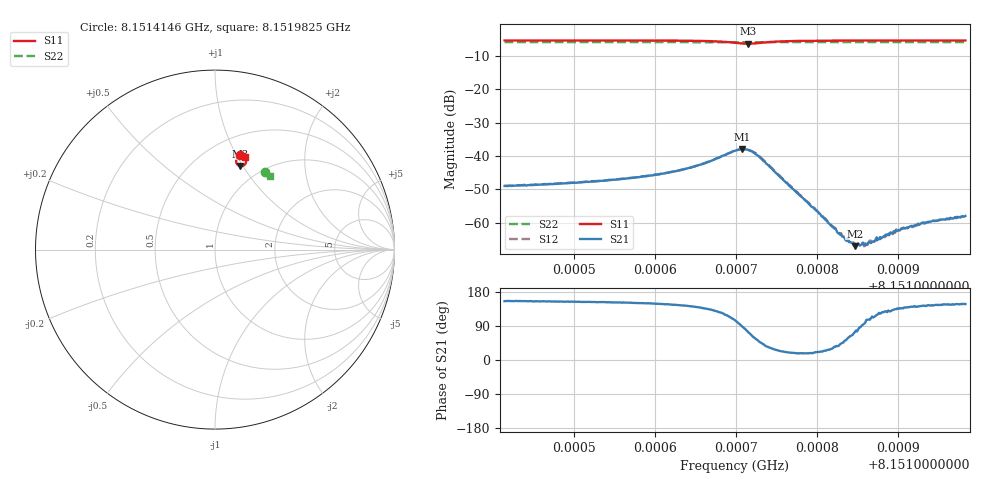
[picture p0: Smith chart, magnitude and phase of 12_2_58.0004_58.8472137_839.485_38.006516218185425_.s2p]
#  HZ  S  RI  R  50.00
! Rohde & Schwarz Vector Network Analyzer
! Rohde-Schwarz,ZNB20-2Port,1311601062101988,3.16
! Created: UTC 3/21/2024, 12:50:49 AM
! freq[Hz]  re:S11  im:S11  re:S21  im:S21  re:S12  im:S12  re:S22  im:S22
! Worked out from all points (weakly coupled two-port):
!   401 points, 8.1514146 GHz to 8.1519825 GHz, reference 50 ohm
!   highest |S21| = -37.85 dB at 8.1517071 GHz (marker M1); lowest = -67.1 dB at 8.1518462 GHz (marker M2)
!   lowest |S11| = -6.3 dB at 8.1517142 GHz (marker M3), VSWR 2.89, Z = 39.8 + j48.5 ohm
!   |S11| at or under -10 dB: nowhere
!   |S22| runs from -5.8 to -5.8 dB; largest |S21 - S12| = 0.0004
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8.15141462e9  0.1375 0.5263  -0.00322 0.00148  -0.00322 0.00151  0.2781 0.4324
8.15150973e9  0.1462 0.5239  -0.00362 0.00181  -0.00361 0.00186  0.2832 0.4289
8.15156652e9  0.1526 0.5213  -0.00404 0.00223  -0.00404 0.00229  0.2863 0.4268
8.15160485e9  0.158 0.5185  -0.00451 0.00282  -0.00447 0.00287  0.2883 0.4253
8.15163182e9  0.1628 0.5149  -0.005 0.0036  -0.00496 0.00364  0.2899 0.4241
8.15165595e9  0.1683 0.5087  -0.00553 0.00494  -0.00548 0.00503  0.2911 0.423
8.15169854e9  0.1659 0.4739  -0.00309 0.0116  -0.00303 0.0116  0.2926 0.4202
8.15170706e9  0.1526 0.4659  0.000144 0.0128  7.77e-05 0.0128  0.2924 0.4198
8.15171415e9  0.138 0.466  0.00331 0.012  0.00317 0.0122  0.2923 0.4198
8.15172125e9  0.1255 0.4734  0.00561 0.00976  0.00544 0.0101  0.2922 0.4198
8.15172977e9  0.1184 0.4867  0.00642 0.00678  0.00659 0.00704  0.2926 0.4203
8.15179365e9  0.1395 0.5199  0.00164 0.000523  0.00169 0.000547  0.2972 0.4189
8.1518334e9  0.1479 0.5209  0.00037 0.000452  0.000377 0.000442  0.2994 0.4172
8.15184617e9  0.1501 0.5209  0.000126 0.000425  0.000169 0.000451  0.3 0.4167
8.15185469e9  0.1512 0.5209  -6.08e-06 0.000472  2.03e-05 0.000459  0.3006 0.4166
8.15186037e9  0.152 0.5208  -0.000128 0.00045  -0.000103 0.000489  0.301 0.4161
8.15186321e9  0.1524 0.5207  -0.000147 0.000483  -0.000137 0.000485  0.3011 0.416
8.15187031e9  0.1533 0.5208  -0.000211 0.000468  -0.000219 0.000486  0.3015 0.4158
8.15188876e9  0.1555 0.5204  -0.00043 0.000537  -0.000395 0.000514  0.3024 0.415
8.15190012e9  0.1569 0.5203  -0.000551 0.000548  -0.000562 0.000553  0.3031 0.4145
8.15192851e9  0.1599 0.5197  -0.00078 0.000598  -0.000772 0.000614  0.3046 0.4135
8.15198245e9  0.1649 0.5185  -0.00106 0.000673  -0.00107 0.000684  0.3073 0.4114
